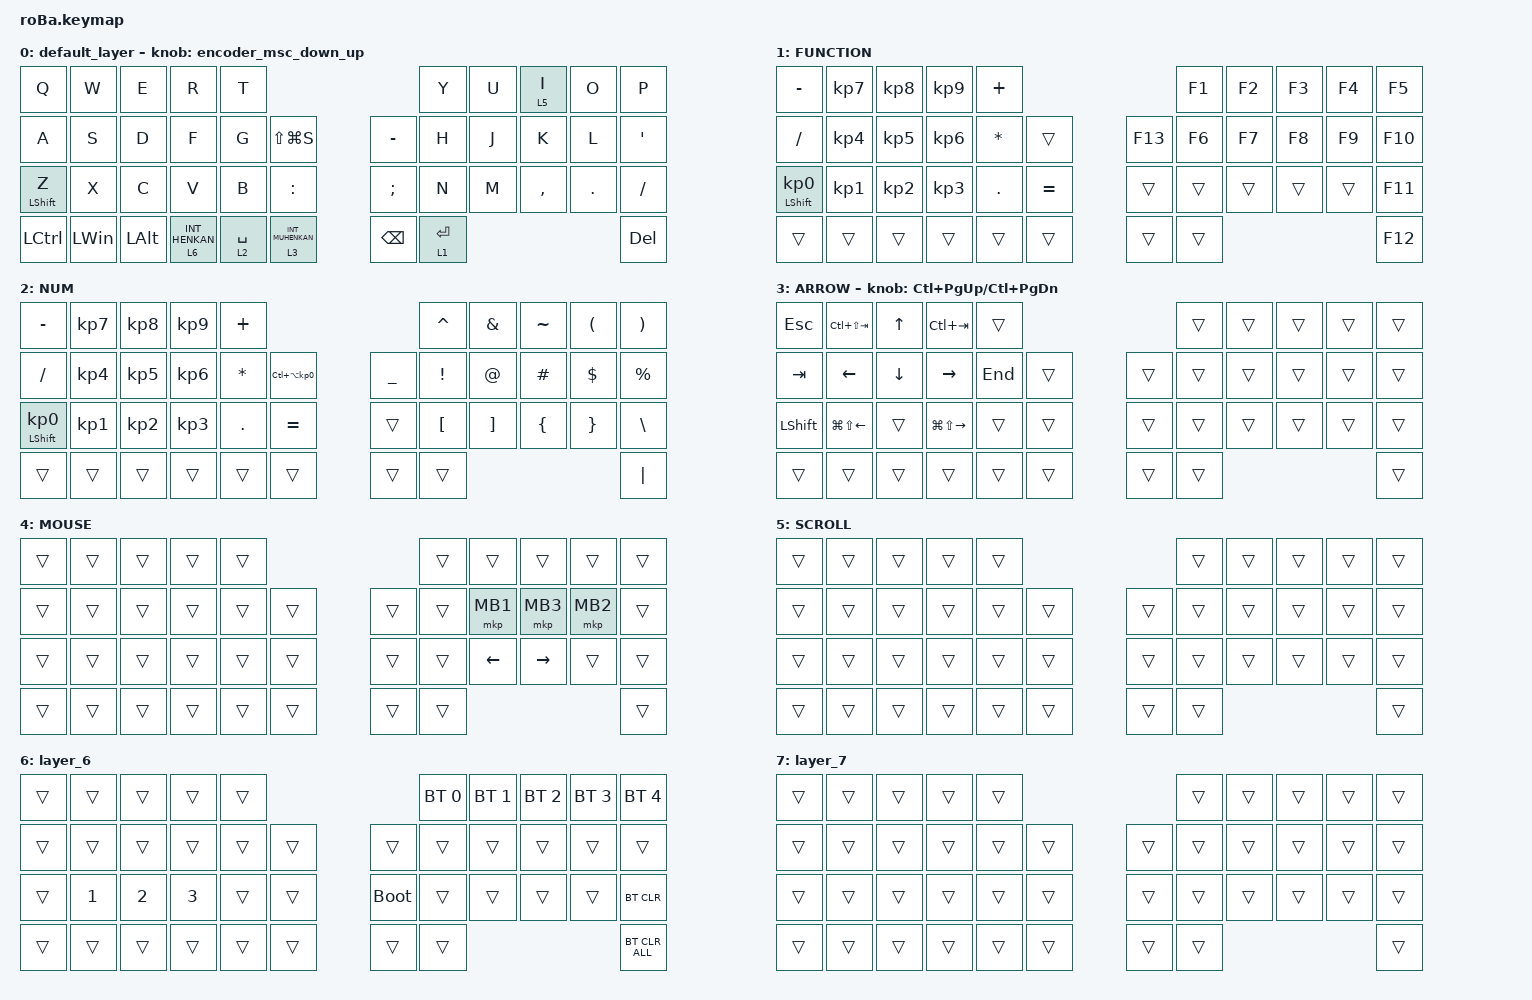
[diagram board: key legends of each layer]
#include <behaviors.dtsi>
#include <dt-bindings/zmk/bt.h>
#include <dt-bindings/zmk/keys.h>
#include <dt-bindings/zmk/pointing.h>

#define ZMK_POINTING_DEFAULT_SCRL_VAL 80
#define MOUSE 4
#define SCROLL 5
#define NUM 6

&mt {
    flavor = "balanced";
    quick-tap-ms = <0>;
};

/ {
    combos {
        compatible = "zmk,combos";

        tab {
            bindings = <&kp TAB>;
            key-positions = <11 12>;
        };

        shift_tab {
            bindings = <&kp LS(TAB)>;
            key-positions = <12 13>;
        };

        muhennkann {
            bindings = <&to_layer_0 INT_MUHENKAN>;
            key-positions = <11 10>;
        };

        double_quotation {
            bindings = <&kp DOUBLE_QUOTES>;
            key-positions = <20 21>;
        };

        eq {
            bindings = <&kp EQUAL>;
            key-positions = <24 25>;
        };
    };

    macros {
        to_layer_0: to_layer_0 {
            compatible = "zmk,behavior-macro-one-param";
            #binding-cells = <1>;
            bindings = <&to 0 &macro_param_1to1 &kp MACRO_PLACEHOLDER>;
            label = "TO_LAYER_0";
        };
    };

    behaviors {
        lt_to_layer_0: lt_to_layer_0 {
            compatible = "zmk,behavior-hold-tap";
            label = "LAYER_TAP_TO_0";
            bindings = <&mo>, <&to_layer_0>;

            #binding-cells = <2>;
            tapping-term-ms = <200>;
        };

        encoder_msc_down_up: encoder_msc_down_up {
            compatible = "zmk,behavior-sensor-rotate";
            label = "ENCODER_MSC_DOWN_UP";
            #sensor-binding-cells = <0>;
            bindings = <&msc SCRL_UP>, <&msc SCRL_DOWN>;

            tap-ms = <20>;
        };
    };

    keymap {
        compatible = "zmk,keymap";

        default_layer {
            bindings = <
&kp Q             &kp W         &kp E         &kp R                        &kp T                                                          &kp Y        &kp U  &lt 5 I    &kp O       &kp P
&kp A             &kp S         &kp D         &kp F                        &kp G        &kp LS(LG(S))                      &kp MINUS      &kp H        &kp J  &kp K      &kp L       &kp SQT
&mt LEFT_SHIFT Z  &kp X         &kp C         &kp V                        &kp B        &kp COLON                          &kp SEMICOLON  &kp N        &kp M  &kp COMMA  &kp PERIOD  &kp SLASH
&kp LCTRL         &kp LEFT_WIN  &kp LEFT_ALT  &lt_to_layer_0 6 INT_HENKAN  &lt 2 SPACE  &lt_to_layer_0 3 INT_MUHENKAN      &kp BACKSPACE  &lt 1 ENTER                                &kp DEL
            >;

            sensor-bindings = <&encoder_msc_down_up>;
        };

        FUNCTION {
            bindings = <
&kp MINUS                   &kp KP_NUMBER_7  &kp KP_NUMBER_8  &kp KP_NUMBER_9  &kp PLUS                              &kp F1  &kp F2  &kp F3  &kp F4  &kp F5
&kp SLASH                   &kp KP_NUMBER_4  &kp KP_NUMBER_5  &kp KP_NUMBER_6  &kp ASTERISK  &trans         &kp F13  &kp F6  &kp F7  &kp F8  &kp F9  &kp F10
&mt LEFT_SHIFT KP_NUMBER_0  &kp KP_NUMBER_1  &kp KP_NUMBER_2  &kp KP_NUMBER_3  &kp PERIOD    &kp EQUAL      &trans   &trans  &trans  &trans  &trans  &kp F11
&trans                      &trans           &trans           &trans           &trans        &trans         &trans   &trans                          &kp F12
            >;
        };

        NUM {
            bindings = <
&kp MINUS                   &kp KP_NUMBER_7  &kp KP_NUMBER_8  &kp KP_NUMBER_9  &kp PLUS                                                   &kp CARET         &kp AMPERSAND      &kp TILDE       &kp LEFT_PARENTHESIS  &kp RIGHT_PARENTHESIS
&kp SLASH                   &kp KP_NUMBER_4  &kp KP_NUMBER_5  &kp KP_NUMBER_6  &kp ASTERISK  &kp LC(LA(KP_NUMBER_0))      &kp UNDERSCORE  &kp EXCLAMATION   &kp AT_SIGN        &kp HASH        &kp DOLLAR            &kp PERCENT
&mt LEFT_SHIFT KP_NUMBER_0  &kp KP_NUMBER_1  &kp KP_NUMBER_2  &kp KP_NUMBER_3  &kp PERIOD    &kp EQUAL                    &trans          &kp LEFT_BRACKET  &kp RIGHT_BRACKET  &kp LEFT_BRACE  &kp RIGHT_BRACE       &kp BACKSLASH
&trans                      &trans           &trans           &trans           &trans        &trans                       &trans          &trans                                                                     &kp PIPE
            >;
        };

        ARROW {
            bindings = <
&kp ESCAPE      &kp LC(LS(TAB))         &kp UP_ARROW    &kp LC(TAB)              &trans                       &trans  &trans  &trans  &trans  &trans
&kp TAB         &kp LEFT_ARROW          &kp DOWN_ARROW  &kp RIGHT_ARROW          &kp END  &trans      &trans  &trans  &trans  &trans  &trans  &trans
&kp LEFT_SHIFT  &kp LG(LS(LEFT_ARROW))  &trans          &kp LG(LS(RIGHT_ARROW))  &trans   &trans      &trans  &trans  &trans  &trans  &trans  &trans
&trans          &trans                  &trans          &trans                   &trans   &trans      &trans  &trans                          &trans
            >;

            sensor-bindings = <&inc_dec_kp LC(PAGE_UP) LC(PAGE_DOWN)>;
        };

        MOUSE {
            bindings = <
&trans  &trans  &trans  &trans  &trans                      &trans  &trans          &trans           &trans    &trans
&trans  &trans  &trans  &trans  &trans  &trans      &trans  &trans  &mkp MB1        &mkp MB3         &mkp MB2  &trans
&trans  &trans  &trans  &trans  &trans  &trans      &trans  &trans  &kp LEFT_ARROW  &kp RIGHT_ARROW  &trans    &trans
&trans  &trans  &trans  &trans  &trans  &trans      &trans  &trans                                             &trans
            >;
        };

        SCROLL {
            bindings = <
&trans  &trans  &trans  &trans  &trans                      &trans  &trans  &trans  &trans  &trans
&trans  &trans  &trans  &trans  &trans  &trans      &trans  &trans  &trans  &trans  &trans  &trans
&trans  &trans  &trans  &trans  &trans  &trans      &trans  &trans  &trans  &trans  &trans  &trans
&trans  &trans  &trans  &trans  &trans  &trans      &trans  &trans                          &trans
            >;
        };

        layer_6 {
            bindings = <
&trans  &trans        &trans        &trans        &trans                           &bt BT_SEL 0  &bt BT_SEL 1  &bt BT_SEL 2  &bt BT_SEL 3  &bt BT_SEL 4
&trans  &trans        &trans        &trans        &trans  &trans      &trans       &trans        &trans        &trans        &trans        &trans
&trans  &kp NUMBER_1  &kp NUMBER_2  &kp NUMBER_3  &trans  &trans      &bootloader  &trans        &trans        &trans        &trans        &bt BT_CLR
&trans  &trans        &trans        &trans        &trans  &trans      &trans       &trans                                                  &bt BT_CLR_ALL
            >;
        };

        layer_7 {
            bindings = <
&trans  &trans  &trans  &trans  &trans                      &trans  &trans  &trans  &trans  &trans
&trans  &trans  &trans  &trans  &trans  &trans      &trans  &trans  &trans  &trans  &trans  &trans
&trans  &trans  &trans  &trans  &trans  &trans      &trans  &trans  &trans  &trans  &trans  &trans
&trans  &trans  &trans  &trans  &trans  &trans      &trans  &trans                          &trans
            >;
        };
    };
};
